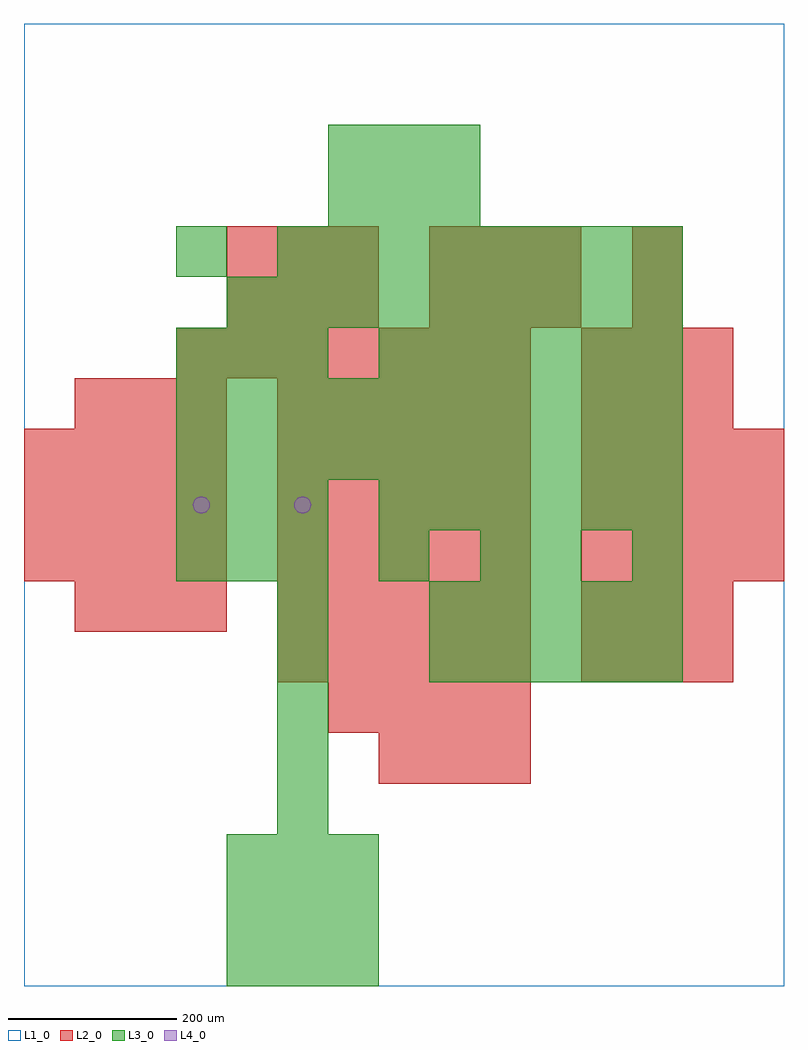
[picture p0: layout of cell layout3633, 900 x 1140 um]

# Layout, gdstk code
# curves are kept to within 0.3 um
import gdstk
lib = gdstk.Library(unit=1e-6, precision=1e-09)
def R(c, l, rs):  # rectangles x0, y0, x1, y1
    for r in rs: c.add(gdstk.rectangle(r[:2], r[2:], *l))
def A(c, l, x, y, w, h, nx, ny, dx, dy):  # array of equal rectangles
    R(c, l, [(x+i*dx, y+j*dy, x+i*dx+w, y+j*dy+h) for i in range(nx) for j in range(ny)])
def P(c, l, *ps):  # polygons
    for p in ps: c.add(gdstk.Polygon(p, *l))
L1_0 = (1, 0)
L2_0 = (2, 0)
L3_0 = (3, 0)
L4_0 = (4, 0)

layout3633 = lib.new_cell('layout3633')
R(layout3633, L1_0, [(0,0,900,1140)])
A(layout3633, L2_0, 420, 240, 60, 60, 3, 1, 60, 0)
A(layout3633, L2_0, 360, 300, 60, 60, 4, 1, 60, 0)
A(layout3633, L2_0, 300, 360, 60, 60, 5, 6, 60, 60)
A(layout3633, L2_0, 660, 360, 60, 60, 3, 2, 60, 60)
A(layout3633, L2_0, 60, 420, 60, 60, 3, 2, 60, 240)
A(layout3633, L2_0, 0, 480, 60, 60, 4, 3, 60, 60)
A(layout3633, L2_0, 660, 480, 60, 60, 4, 3, 60, 60)
A(layout3633, L2_0, 660, 660, 60, 60, 3, 2, 60, 60)
A(layout3633, L2_0, 180, 720, 60, 60, 7, 1, 60, 0)
A(layout3633, L2_0, 240, 780, 60, 60, 3, 2, 60, 60)
A(layout3633, L2_0, 480, 780, 60, 60, 3, 2, 60, 60)
R(layout3633, L2_0, [(720,780,780,840), (720,840,780,900)])
A(layout3633, L3_0, 240, 0, 60, 60, 3, 3, 60, 60)
A(layout3633, L3_0, 300, 180, 60, 60, 1, 5, 0, 60)
A(layout3633, L3_0, 480, 360, 60, 60, 5, 2, 60, 60)
A(layout3633, L3_0, 180, 480, 60, 60, 3, 2, 60, 60)
A(layout3633, L3_0, 420, 540, 60, 60, 6, 2, 60, 180)
A(layout3633, L3_0, 180, 600, 60, 60, 10, 2, 60, 60)
A(layout3633, L3_0, 180, 720, 60, 60, 3, 1, 60, 0)
A(layout3633, L3_0, 240, 780, 60, 60, 9, 1, 60, 0)
A(layout3633, L3_0, 300, 840, 60, 60, 8, 1, 60, 0)
A(layout3633, L3_0, 360, 900, 60, 60, 3, 2, 60, 60)
R(layout3633, L3_0, [(420,480,480,540), (540,480,600,540), (600,480,660,540), (720,480,780,540), (180,840,240,900)])
P(layout3633, L4_0, [(220,570),(219.239,573.827),(217.071,577.071),(213.827,579.239),(210,580),(206.173,579.239),(202.929,577.071),(200.761,573.827),(200,570),(200.761,566.173),(202.929,562.929),(206.173,560.761),(210,560),(213.827,560.761),(217.071,562.929),(219.239,566.173)],
  [(340,570),(339.239,573.827),(337.071,577.071),(333.827,579.239),(330,580),(326.173,579.239),(322.929,577.071),(320.761,573.827),(320,570),(320.761,566.173),(322.929,562.929),(326.173,560.761),(330,560),(333.827,560.761),(337.071,562.929),(339.239,566.173)])

lib.write_gds('layout3633.gds')
